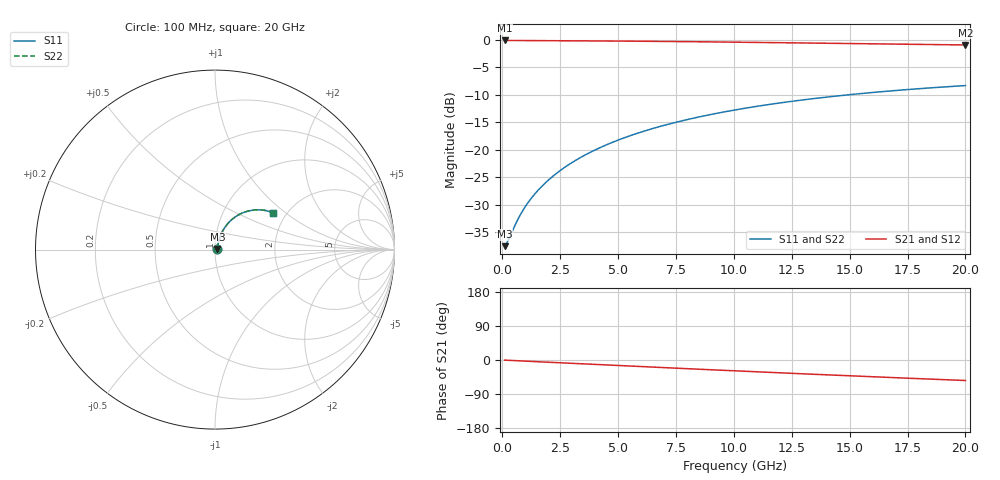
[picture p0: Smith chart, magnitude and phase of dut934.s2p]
! Touchstone file exported from HFSS 2026.1.0
!  File:  C:/ffzhzh/LocalFiles/Ansys_Project_Files/temp_train_BSMRDL_934_1783171941_22436.aedt
!  Generated:  09:33:32 PM Jul  4, 2026
!  Design:  BSMRDL
!  Project:  temp_train_BSMRDL_934_1783171941_22436
! Variables:
!  h_bsmrdl = 2.19um
!  h_ox = 20um
!  h_rdl = 5um
!  h_sub = 80um
!  h_tmrdl = 5um
!  h_tsv = 80um
!  h_via = 3um
!  l_bsmrdl = 908.51um
!  l_sub = 1308.51um
!  l_tmrdl = 200um
!  m_sub = 200um
!  pitch = 20.6um
!  r_tsv = 6um
!  s_tmrdl = 10um
!  w_bsmrdl = 11.12um
!  w_sub = 500um
!  w_tmrdl = 12um
!  x_tsv_center1 = 206um
!  x_tsv_center2 = 1125.63um
!  x_tsv_center3 = 1337.63um
!  x_tsv_center4 = 2257.26um
!  x_tsv_center5 = 2469.26um
!  x_tsv_center6 = 3388.89um
# GHz S MA R 50.000000
! Terminal data exported
! Port[1] = BSM_RDL1_1_T1
! Port[2] = BSM_RDL1_1_T2
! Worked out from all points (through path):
!   200 points, 100 MHz to 20 GHz, reference 50 ohm
!   highest |S21| = -0.11 dB at 100 MHz (marker M1); lowest = -0.9 dB at 20 GHz (marker M2)
!   group delay of S21, straight-line fit = 7.52 ps
!   lowest |S11| = -37.5 dB at 100 MHz (marker M3), VSWR 1.03, Z = 51.3 + j0.287 ohm
!   |S11| at or under -10 dB: start of sweep to 14.93 GHz
!   |S22| runs from -37.5 to -8.3 dB; largest |S21 - S12| = 3.6e-15
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0.1  0.01331 12.1  0.987 -0.3  0.987 -0.3  0.01331 12.1
! Gamma 0 0 0 0
! Port Impedance 50 0 50 0
0.2  0.0143 22.9  0.9869 -0.6  0.9869 -0.6  0.0143 22.9
0.6  0.02172 48.0  0.9859 -1.9  0.9859 -1.9  0.02172 48.0
0.7  0.02391 51.2  0.9855 -2.2  0.9855 -2.2  0.02391 51.2
0.9  0.02837 55.9  0.9849 -2.7  0.9849 -2.7  0.02837 55.9
1.2  0.03512 60.4  0.9841 -3.6  0.9841 -3.6  0.03512 60.4
1.5  0.04191 63.3  0.9834 -4.5  0.9834 -4.5  0.04191 63.3
1.9  0.05102 65.7  0.9825 -5.6  0.9825 -5.6  0.05101 65.7
2.4  0.06251 67.4  0.9815 -7.1  0.9815 -7.1  0.06251 67.4
2.9  0.07408 68.2  0.9804 -8.5  0.9804 -8.5  0.07408 68.2
3.5  0.088 68.4  0.9789 -10.2  0.9789 -10.2  0.088 68.4
4.2  0.1042 68.0  0.9771 -12.2  0.9771 -12.2  0.1042 68.0
5  0.1226 67.0  0.9746 -14.5  0.9746 -14.5  0.1226 67.0
5.9  0.1429 65.5  0.9714 -17.1  0.9714 -17.1  0.1429 65.5
6.8  0.1629 63.7  0.9679 -19.6  0.9679 -19.6  0.1629 63.8
8.4  0.1971 60.2  0.9608 -24.1  0.9608 -24.1  0.1971 60.2
10.1  0.2315 56.1  0.9523 -28.8  0.9523 -28.8  0.2315 56.2
11.7  0.2617 52.2  0.9437 -33.1  0.9437 -33.1  0.2617 52.3
13.4  0.2916 48.1  0.9342 -37.6  0.9342 -37.6  0.2916 48.2
15  0.3174 44.2  0.9252 -41.7  0.9252 -41.7  0.3174 44.3
16.7  0.3423 40.1  0.9157 -46.0  0.9157 -46.0  0.3423 40.2
20  0.3837 32.3  0.8983 -54.1  0.8983 -54.1  0.3837 32.4
